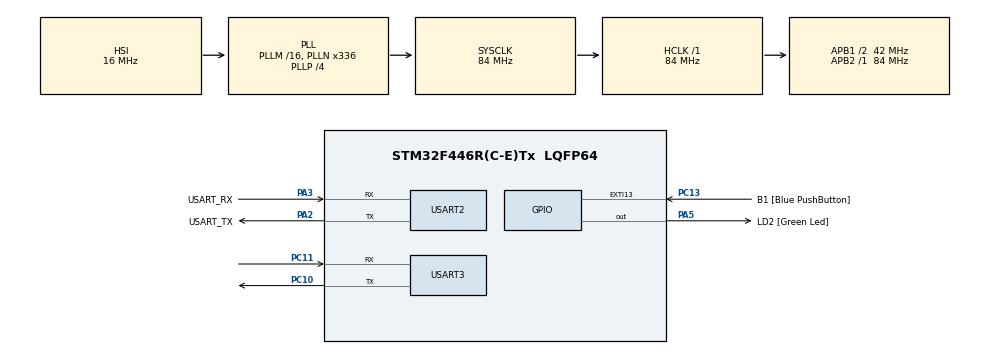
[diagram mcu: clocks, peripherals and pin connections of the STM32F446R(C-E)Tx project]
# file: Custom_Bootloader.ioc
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Mcu.Family=STM32F4
Mcu.Name=STM32F446R(C-E)Tx
Mcu.Package=LQFP64
NVIC.PriorityGroup=NVIC_PRIORITYGROUP_0
PA13.GPIO_Label=TMS
PA13.Signal=SYS_JTMS-SWDIO
PA14.GPIO_Label=TCK
PA14.Signal=SYS_JTCK-SWCLK
PA2.GPIO_Label=USART_TX
PA2.Mode=Asynchronous
PA2.Signal=USART2_TX
PA3.GPIO_Label=USART_RX
PA3.Mode=Asynchronous
PA3.Signal=USART2_RX
PA5.GPIO_Label=LD2 [Green Led]
PA5.Signal=GPIO_Output
PB3.GPIO_Label=SWO
PB3.Signal=SYS_JTDO-SWO
PC10.Mode=Asynchronous
PC10.Signal=USART3_TX
PC11.Mode=Asynchronous
PC11.Signal=USART3_RX
PC13.GPIO_Label=B1 [Blue PushButton]
PC13.GPIO_ModeDefaultEXTI=GPIO_MODE_IT_FALLING
PC13.Signal=GPXTI13
PC14-OSC32_IN.Signal=RCC_OSC32_IN
PC15-OSC32_OUT.Signal=RCC_OSC32_OUT
PH0-OSC_IN.Signal=RCC_OSC_IN
PH1-OSC_OUT.Signal=RCC_OSC_OUT
ProjectManager.HeapSize=0x200
ProjectManager.StackSize=0x400
ProjectManager.TargetToolchain=STM32CubeIDE
RCC.AHBFreq_Value=84000000
RCC.APB1CLKDivider=RCC_HCLK_DIV2
RCC.APB1Freq_Value=42000000
RCC.APB1TimFreq_Value=84000000
RCC.APB2Freq_Value=84000000
RCC.APB2TimFreq_Value=84000000
RCC.CortexFreq_Value=84000000
RCC.FLatency-AdvancedSettings=FLASH_LATENCY_2
RCC.HCLKFreq_Value=84000000
RCC.HSE_VALUE=8000000
RCC.HSI_VALUE=16000000
RCC.LSE_VALUE=32768
RCC.PLLN=336
RCC.PLLP=RCC_PLLP_DIV4
RCC.SYSCLKFreq_VALUE=84000000
RCC.SYSCLKSource=RCC_SYSCLKSOURCE_PLLCLK
RCC.USBFreq_Value=168000000
RCC.VCOOutputFreq_Value=336000000
USART2.VirtualMode=VM_ASYNC
USART3.VirtualMode=VM_ASYNC
VP_CRC_VS_CRC.Mode=CRC_Activate
board=NUCLEO-F446RE

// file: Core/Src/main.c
/* USER CODE BEGIN Header */
/**
  ******************************************************************************
  * @file           : main.c
  * @brief          : Main program body
  ******************************************************************************
  * @attention
  *
  * Copyright (c) 2026 STMicroelectronics.
  * All rights reserved.
  *
  * This software is licensed under terms that can be found in the LICENSE file
  * in the root directory of this software component.
  * If no LICENSE file comes with this software, it is provided AS-IS.
  *
  ******************************************************************************
  */
/* USER CODE END Header */
#include "main.h"

/* USER CODE BEGIN PD */
#define BL_DEBUG_MSG_EN

#define D_UART    &huart3
#define C_UART    &huart2

#define FLASH_SECTOR2_BASE_ADDR    0x08008000U
#define BL_RX_LEN                  200
/* USER CODE END PD */

/* USER CODE BEGIN PM */
#define ADDR_VALID		1
#define ADDR_INVALID	0

#define INVALID_SECTOR	0
/* USER CODE END PM */

CRC_HandleTypeDef hcrc;

UART_HandleTypeDef huart2;
UART_HandleTypeDef huart3;

/* USER CODE BEGIN PV */
uint8_t bl_rx_buffer[BL_RX_LEN];

uint8_t supported_commands[]={
		BL_GET_VER,
		BL_GET_HELP,
		BL_GET_CID,
		BL_GET_RDP_STATUS,
		BL_GO_TO_ADDR,
		BL_FLASH_ERASE,
		BL_MEM_WRITE,
		BL_EN_R_W_PROTECT,
		BL_MEM_READ,
		BL_READ_SECTOR_STATUS,
		BL_OTP_READ,
		BL_DIS_R_W_PROTECT
};
/* USER CODE END PV */

void SystemClock_Config(void);
static void MX_GPIO_Init(void);
static void MX_CRC_Init(void);
static void MX_USART2_UART_Init(void);
static void MX_USART3_UART_Init(void);
/* USER CODE BEGIN PFP */
static void printmsg(char *format,...);
void bootloader_jump_to_user_app(void);
void bootloader_uart_read_data(void);

void bootloader_handle_getver_cmd(uint8_t* bl_rx_buffer);
void bootloader_handle_gethelp_cmd(uint8_t* bl_rx_buffer);
void bootloader_handle_getcid_cmd(uint8_t* bl_rx_buffer);
void bootloader_handle_getrdp_cmd(uint8_t* bl_rx_buffer);
void bootloader_handle_go_cmd(uint8_t* bl_rx_buffer);
void bootloader_handle_flash_erase_cmd(uint8_t* bl_rx_buffer);
void bootloader_handle_mem_write_cmd(uint8_t* bl_rx_buffer);
void bootloader_handle_en_rw_protect(uint8_t* bl_rx_buffer);
void bootloader_handle_mem_read(uint8_t* bl_rx_buffer);
void bootloader_handle_read_sector_protection_status(uint8_t* bl_rx_buffer);
void bootloader_handle_read_otp(uint8_t* bl_rx_buffer);
void bootloader_handle_dis_rw_protect(uint8_t* bl_rx_buffer);

void bootloader_send_nack(void);
void bootloader_send_ack(uint8_t command_code, uint8_t follow_len);
uint8_t bootloader_verify_crc(uint8_t* pData, uint32_t len, uint32_t crc_host);
uint8_t get_bootloader_version(void);
void bootloader_uart_write_data(uint8_t* pBuffer, uint32_t len);
uint32_t get_mcu_chip_id(void);
uint8_t get_flash_rdp_level(void);
uint8_t verify_addr(uint32_t go_address);
uint8_t execute_flash_erase(uint8_t sector_number, uint8_t number_of_sector);
/* USER CODE END PFP */

int main(void)
{

  /* MCU Configuration--------------------------------------------------------*/

  /* Reset of all peripherals, Initializes the Flash interface and the Systick. */
  HAL_Init();

  /* Configure the system clock */
  SystemClock_Config();

  /* Initialize all configured peripherals */
  MX_GPIO_Init();
  MX_CRC_Init();
  MX_USART2_UART_Init();
  MX_USART3_UART_Init();
  /* USER CODE BEGIN 2 */
  if(HAL_GPIO_ReadPin(B1_GPIO_Port, B1_Pin)==GPIO_PIN_RESET)
  {
	  printmsg("\nBL_DEBUG_MSG: Button is pressed .. going to BL mode\n\r");

	  //continue in bootloader mode
	  bootloader_uart_read_data();
  }
  else
  {
	  printmsg("BL_DEBUG_MSG: Button is NOT pressed .. executing user function\n\r");
	  bootloader_jump_to_user_app();
  }

  /* USER CODE END 2 */

  /* Infinite loop */
  while (1)
  {

  }
}

void SystemClock_Config(void)
{
  RCC_OscInitTypeDef RCC_OscInitStruct = {0};
  RCC_ClkInitTypeDef RCC_ClkInitStruct = {0};

  /** Configure the main internal regulator output voltage
  */
  __HAL_RCC_PWR_CLK_ENABLE();
  __HAL_PWR_VOLTAGESCALING_CONFIG(PWR_REGULATOR_VOLTAGE_SCALE3);

  /** Initializes the RCC Oscillators according to the specified parameters
  * in the RCC_OscInitTypeDef structure.
  */
  RCC_OscInitStruct.OscillatorType = RCC_OSCILLATORTYPE_HSI;
  RCC_OscInitStruct.HSIState = RCC_HSI_ON;
  RCC_OscInitStruct.HSICalibrationValue = RCC_HSICALIBRATION_DEFAULT;
  RCC_OscInitStruct.PLL.PLLState = RCC_PLL_ON;
  RCC_OscInitStruct.PLL.PLLSource = RCC_PLLSOURCE_HSI;
  RCC_OscInitStruct.PLL.PLLM = 16;
  RCC_OscInitStruct.PLL.PLLN = 336;
  RCC_OscInitStruct.PLL.PLLP = RCC_PLLP_DIV4;
  RCC_OscInitStruct.PLL.PLLQ = 2;
  RCC_OscInitStruct.PLL.PLLR = 2;
  if (HAL_RCC_OscConfig(&RCC_OscInitStruct) != HAL_OK)
  {
    Error_Handler();
  }

  /** Initializes the CPU, AHB and APB buses clocks
  */
  RCC_ClkInitStruct.ClockType = RCC_CLOCKTYPE_HCLK|RCC_CLOCKTYPE_SYSCLK
                              |RCC_CLOCKTYPE_PCLK1|RCC_CLOCKTYPE_PCLK2;
  RCC_ClkInitStruct.SYSCLKSource = RCC_SYSCLKSOURCE_PLLCLK;
  RCC_ClkInitStruct.AHBCLKDivider = RCC_SYSCLK_DIV1;
  RCC_ClkInitStruct.APB1CLKDivider = RCC_HCLK_DIV2;
  RCC_ClkInitStruct.APB2CLKDivider = RCC_HCLK_DIV1;

  if (HAL_RCC_ClockConfig(&RCC_ClkInitStruct, FLASH_LATENCY_2) != HAL_OK)
  {
    Error_Handler();
  }
}

static void MX_CRC_Init(void)
{

  hcrc.Instance = CRC;
  if (HAL_CRC_Init(&hcrc) != HAL_OK)
  {
    Error_Handler();
  }

}

static void MX_USART2_UART_Init(void)
{

  huart2.Instance = USART2;
  huart2.Init.BaudRate = 115200;
  huart2.Init.WordLength = UART_WORDLENGTH_8B;
  huart2.Init.StopBits = UART_STOPBITS_1;
  huart2.Init.Parity = UART_PARITY_NONE;
  huart2.Init.Mode = UART_MODE_TX_RX;
  huart2.Init.HwFlowCtl = UART_HWCONTROL_NONE;
  huart2.Init.OverSampling = UART_OVERSAMPLING_16;
  if (HAL_UART_Init(&huart2) != HAL_OK)
  {
    Error_Handler();
  }

}

static void MX_USART3_UART_Init(void)
{

  huart3.Instance = USART3;
  huart3.Init.BaudRate = 115200;
  huart3.Init.WordLength = UART_WORDLENGTH_8B;
  huart3.Init.StopBits = UART_STOPBITS_1;
  huart3.Init.Parity = UART_PARITY_NONE;
  huart3.Init.Mode = UART_MODE_TX_RX;
  huart3.Init.HwFlowCtl = UART_HWCONTROL_NONE;
  huart3.Init.OverSampling = UART_OVERSAMPLING_16;
  if (HAL_UART_Init(&huart3) != HAL_OK)
  {
    Error_Handler();
  }

}

static void MX_GPIO_Init(void)
{
  GPIO_InitTypeDef GPIO_InitStruct = {0};

  /* GPIO Ports Clock Enable */
  __HAL_RCC_GPIOC_CLK_ENABLE();
  __HAL_RCC_GPIOH_CLK_ENABLE();
  __HAL_RCC_GPIOA_CLK_ENABLE();
  __HAL_RCC_GPIOB_CLK_ENABLE();

  /*Configure GPIO pin Output Level */
  HAL_GPIO_WritePin(LD2_GPIO_Port, LD2_Pin, GPIO_PIN_RESET);

  /*Configure GPIO pin : B1_Pin */
  GPIO_InitStruct.Pin = B1_Pin;
  GPIO_InitStruct.Mode = GPIO_MODE_IT_FALLING;
  GPIO_InitStruct.Pull = GPIO_NOPULL;
  HAL_GPIO_Init(B1_GPIO_Port, &GPIO_InitStruct);

  /*Configure GPIO pin : LD2_Pin */
  GPIO_InitStruct.Pin = LD2_Pin;
  GPIO_InitStruct.Mode = GPIO_MODE_OUTPUT_PP;
  GPIO_InitStruct.Pull = GPIO_NOPULL;
  GPIO_InitStruct.Speed = GPIO_SPEED_FREQ_LOW;
  HAL_GPIO_Init(LD2_GPIO_Port, &GPIO_InitStruct);

  /* USER CODE BEGIN MX_GPIO_Init_2 */
  GPIO_InitStruct.Pin = GPIO_PIN_10; //USART3_TX
  GPIO_InitStruct.Mode = GPIO_MODE_AF_PP;
  GPIO_InitStruct.Pull = GPIO_PULLUP;
  GPIO_InitStruct.Speed = GPIO_SPEED_FREQ_HIGH;
  GPIO_InitStruct.Alternate = 7;
  HAL_GPIO_Init(GPIOB, &GPIO_InitStruct);

  GPIO_InitStruct.Pin = GPIO_PIN_5; //USART3_RX
  GPIO_InitStruct.Mode = GPIO_MODE_AF_PP;
  GPIO_InitStruct.Pull = GPIO_PULLUP;
  GPIO_InitStruct.Speed = GPIO_SPEED_FREQ_HIGH;
  GPIO_InitStruct.Alternate = 7;
  HAL_GPIO_Init(GPIOC, &GPIO_InitStruct);
  /* USER CODE END MX_GPIO_Init_2 */
}

/* USER CODE BEGIN 4 */
static void printmsg(char *format,...)
{
#ifdef BL_DEBUG_MSG_EN

	char str[80];

	/* Extract the argumet list using VA apis*/
	va_list args;
	va_start(args, format);
	vsprintf(str, format, args);
	HAL_UART_Transmit(D_UART, (uint8_t*)str, strlen(str), HAL_MAX_DELAY);
	va_end(args);

#endif
}

void bootloader_uart_read_data(void)
{
	uint8_t rcv_len=0;

	while(1)
	{
		memset(bl_rx_buffer,0,200);
		//here we will read and decode the commands coming from the host
		//first read will consist of only 1 byte from the host, which is going to be the length field
		HAL_UART_Receive(C_UART, bl_rx_buffer, 1, HAL_MAX_DELAY);
		rcv_len=bl_rx_buffer[0];

		//receiving the actual command
		HAL_UART_Receive(C_UART, bl_rx_buffer, rcv_len, HAL_MAX_DELAY);

		switch ( bl_rx_buffer[0] )
		{
		case BL_GET_VER:
		  bootloader_handle_getver_cmd(bl_rx_buffer);
		  break;
		case BL_GET_HELP:
		  bootloader_handle_gethelp_cmd(bl_rx_buffer);
		  break;
		case BL_GET_CID:
		  bootloader_handle_getcid_cmd(bl_rx_buffer);
		  break;
		case BL_GET_RDP_STATUS:
		  bootloader_handle_getrdp_cmd(bl_rx_buffer);
		  break;
		case BL_GO_TO_ADDR:
		  bootloader_handle_go_cmd(bl_rx_buffer);
		  break;
		case BL_FLASH_ERASE:
		  bootloader_handle_flash_erase_cmd(bl_rx_buffer);
		  break;
		case BL_MEM_WRITE:
		  bootloader_handle_mem_write_cmd(bl_rx_buffer);
		  break;
		case BL_EN_R_W_PROTECT:
		  bootloader_handle_en_rw_protect(bl_rx_buffer);
		  break;
		case BL_MEM_READ:
		  bootloader_handle_mem_read(bl_rx_buffer);
		  break;
		case BL_READ_SECTOR_STATUS:
		  bootloader_handle_read_sector_protection_status(bl_rx_buffer);
		  break;
		case BL_OTP_READ:
		  bootloader_handle_read_otp(bl_rx_buffer);
		  break;
		case BL_DIS_R_W_PROTECT:
		  bootloader_handle_dis_rw_protect(bl_rx_buffer);
		  break;
		default:
		  printmsg("BL_DEBUG_MSG: Invalid command code received from host \n");
		  break;
		}
	}
}

void bootloader_jump_to_user_app(void)
{
	//a function pointer to hold the addr of the reset handler of the user app
	void(*app_reset_handler)(void);
	printmsg("BL_DEBUG_MSG: bootloader_jump_to_user_app\n");

	//1. Config the MSP by adding the value from the base addr of the sector 2
	uint32_t msp_value=*(volatile uint32_t*)FLASH_SECTOR2_BASE_ADDR;
	printmsg("BL_DEBUG_MSG: MSP value: %#x\n",msp_value);

	//This function comes from CMSIS
	__set_MSP(msp_value);

	//2. Now the addr of the reset handler of the user application
	// is fetched from the location FLASH_SECTOR2_BASE_ADDR+4
	uint32_t resethandler_addr=*(volatile uint32_t*)(FLASH_SECTOR2_BASE_ADDR+4);

	app_reset_handler=(void*)resethandler_addr;
	printmsg("BL_DEBUG_MSG: App reset handler address: %#x\n",app_reset_handler);

	//3. jump to reset handler of the user application
	app_reset_handler();
}

void bootloader_handle_getver_cmd(uint8_t* bl_rx_buffer)
{
	uint8_t bl_version;

	//1. Verify the checksum
	printmsg("BL_DEBUG_MSG: bootloader_handle_getver_cmd\n");

	//total length of command packet
	//here bl_rx_buffer[0] contains the value of bytes to follow and
	//1 is added to include the rcv_len byte i.e. 1st byte (bl_rx_buffer[0])
	uint32_t command_packet_len=bl_rx_buffer[0]+1;

	//extract the crc32 sent by the host
	//4 is being subtracted here because total len is of 6 bytes and first 2 bytes
	//are len tto follow and command code the rest of the 4 are crc
	uint32_t host_crc=*((uint32_t*)(bl_rx_buffer+command_packet_len-4));

	//this funct returns 0 then crc is good if non zero val returned then crc is bad
	if(!bootloader_verify_crc(&bl_rx_buffer[0],command_packet_len-4,host_crc))
	{
		printmsg("BL_DEBUG_MSG: Checksum successful!!\n");
		bootloader_send_ack(bl_rx_buffer[0],1);
		bl_version=get_bootloader_version();
		printmsg("BL_DEBUG_MSG: BL VERSION %#x\n",bl_version);
		bootloader_uart_write_data(&bl_version,1);
	}
	else
	{
		printmsg("BL_DEBUG_MSG: checksum fail!!\n");
		//checksum is wrong sending nack
		bootloader_send_nack();
	}
}

//bootloader sneds out ALL supported functions
void bootloader_handle_gethelp_cmd(uint8_t* bl_rx_buffer)
{
	//1. Verify the checksum
	printmsg("BL_DEBUG_MSG: bootloader_handle_gethelp_cmd\n");

	//total length of command packet
	//here bl_rx_buffer[0] contains the value of bytes to follow and
	//1 is added to include the rcv_len byte i.e. 1st byte (bl_rx_buffer[0])
	uint32_t command_packet_len=bl_rx_buffer[0]+1;

	//extract the crc32 sent by the host
	//4 is being subtracted here because total len is of 6 bytes and first 2 bytes
	//are len tto follow and command code the rest of the 4 are crc
	uint32_t host_crc=*((uint32_t*)(bl_rx_buffer+command_packet_len-4));

	//this funct returns 0 then crc is good if non zero val returned then crc is bad
	if(!bootloader_verify_crc(&bl_rx_buffer[0],command_packet_len-4,host_crc))
	{
		printmsg("BL_DEBUG_MSG: Checksum successful!!\n");
		bootloader_send_ack(bl_rx_buffer[0],sizeof(supported_commands));
		bootloader_uart_write_data(supported_commands,sizeof(supported_commands));
	}
	else
	{
		printmsg("BL_DEBUG_MSG: checksum fail!!\n");
		//checksum is wrong sending nack
		bootloader_send_nack();
	}
}

void bootloader_handle_getcid_cmd(uint8_t* bl_rx_buffer)
{
	uint32_t chip_id;

	//1. Verify the checksum
	printmsg("BL_DEBUG_MSG: bootloader_handle_getcid_cmd\n");

	//total length of command packet
	//here bl_rx_buffer[0] contains the value of bytes to follow and
	//1 is added to include the rcv_len byte i.e. 1st byte (bl_rx_buffer[0])
	uint32_t command_packet_len=bl_rx_buffer[0]+1;

	//extract the crc32 sent by the host
	//4 is being subtracted here because total len is of 6 bytes and first 2 bytes
	//are len tto follow and command code the rest of the 4 are crc
	uint32_t host_crc=*((uint32_t*)(bl_rx_buffer+command_packet_len-4));

	//this funct returns 0 then crc is good if non zero val returned then crc is bad
	if(!bootloader_verify_crc(&bl_rx_buffer[0],command_packet_len-4,host_crc))
	{
		printmsg("BL_DEBUG_MSG: Checksum successful!!\n");
		bootloader_send_ack(bl_rx_buffer[0],2);
		chip_id=get_mcu_chip_id();
		uint16_t dev_id = (uint16_t)(chip_id & 0xFFF);
		printmsg("BL_DEBUG_MSG: Chip ID is %#x\n",(chip_id&0xFFF));
		uint16_t chip_rev=(chip_id>>16)&0xFFFF;
		printmsg("BL_DEBUG_MSG: Chip REV is %#x\n",chip_rev);
		bootloader_uart_write_data((uint8_t*)&dev_id,2);
	}
	else
	{
		printmsg("BL_DEBUG_MSG: checksum fail!!\n");
		//checksum is wrong sending nack
		bootloader_send_nack();
	}
}

void bootloader_handle_getrdp_cmd(uint8_t* bl_rx_buffer)
{
	uint8_t rdp_level;

	//1. Verify the checksum
	printmsg("BL_DEBUG_MSG: bootloader_handle_getrdp_cmd\n");

	//total length of command packet
	//here bl_rx_buffer[0] contains the value of bytes to follow and
	//1 is added to include the rcv_len byte i.e. 1st byte (bl_rx_buffer[0])
	uint32_t command_packet_len=bl_rx_buffer[0]+1;

	//extract the crc32 sent by the host
	//4 is being subtracted here because total len is of 6 bytes and first 2 bytes
	//are len tto follow and command code the rest of the 4 are crc
	uint32_t host_crc=*((uint32_t*)(bl_rx_buffer+command_packet_len-4));

	//this funct returns 0 then crc is good if non zero val returned then crc is bad
	if(!bootloader_verify_crc(&bl_rx_buffer[0],command_packet_len-4,host_crc))
	{
		printmsg("BL_DEBUG_MSG: Checksum successful!!\n");
		bootloader_send_ack(bl_rx_buffer[0],1);
		rdp_level=get_flash_rdp_level();
		printmsg("BL_DEBUG_MSG: RDP level is %#x\n",rdp_level);
		bootloader_uart_write_data(&rdp_level,1);
	}
	else
	{
		printmsg("BL_DEBUG_MSG: checksum fail!!\n");
		//checksum is wrong sending nack
		bootloader_send_nack();
	}
}

void bootloader_handle_go_cmd(uint8_t* bl_rx_buffer)
{
	uint32_t go_addr;
	uint8_t addr_valid=ADDR_VALID;
	uint8_t addr_invalid=ADDR_INVALID;

	//1. Verify the checksum
	printmsg("BL_DEBUG_MSG: bootloader_handle_go_cmd\n");

	//total length of command packet
	//here bl_rx_buffer[0] contains the value of bytes to follow and
	//1 is added to include the rcv_len byte i.e. 1st byte (bl_rx_buffer[0])
	uint32_t command_packet_len=bl_rx_buffer[0]+1;

	//extract the crc32 sent by the host
	//4 is being subtracted here because total len is of 6 bytes and first 2 bytes
	//are len tto follow and command code the rest of the 4 are crc
	uint32_t host_crc=*((uint32_t*)(bl_rx_buffer+command_packet_len-4));

	//this funct returns 0 then crc is good if non zero val returned then crc is bad
	if(!bootloader_verify_crc(&bl_rx_buffer[0],command_packet_len-4,host_crc))
	{
		printmsg("BL_DEBUG_MSG: Checksum successful!!\n");
		bootloader_send_ack(bl_rx_buffer[0],1);

		//extract the go address
		go_addr=*((uint32_t*)&bl_rx_buffer[1]);
		printmsg("BL_DEBUG_MSG: GO address is %#x\n",go_addr);
		if(verify_addr(go_addr)==ADDR_VALID)
		{
			//tell host addr is fine
			bootloader_uart_write_data(&addr_valid,1);

			/*
		    uint32_t msp_value = *(volatile uint32_t*)go_addr;
		    __set_MSP(msp_value);

		    uint32_t resethandler_addr = *(volatile uint32_t*)(go_addr + 4);
		    void(*lets_jump)(void) = (void*)resethandler_addr;
		    */

		    go_addr+=1; //make T bit =1

		    void (*lets_jump)(void) = (void *)go_addr;

			printmsg("BL_DEBUG_MSG: Jumping to given address..\n");

			//when code jumps to this addr there must be valid executable code there
			//to see any result so the user must ensure that there is valid code present here
			lets_jump();
		}
		else
		{
			printmsg("BL_DEBUG_MSG: INVALID address\n");
			bootloader_uart_write_data(&addr_invalid,1);
		}
	}
	else
	{
		printmsg("BL_DEBUG_MSG: checksum fail!!\n");
		//checksum is wrong sending nack
		bootloader_send_nack();
	}
}

void bootloader_handle_flash_erase_cmd(uint8_t* bl_rx_buffer)
{
	uint8_t erase_status=0x00;
	printmsg("BL_DEBUG_MSG: bootloader_handle_flash_erase_cmd\n");

	//total length of command packet
	//here bl_rx_buffer[0] contains the value of bytes to follow and
	//1 is added to include the rcv_len byte i.e. 1st byte (bl_rx_buffer[0])
	uint32_t command_packet_len=bl_rx_buffer[0]+1;

	//extract the crc32 sent by the host
	//4 is being subtracted here because total len is of 6 bytes and first 2 bytes
	//are len tto follow and command code the rest of the 4 are crc
	uint32_t host_crc=*((uint32_t*)(bl_rx_buffer+command_packet_len-4));

	//this funct returns 0 then crc is good if non zero val returned then crc is bad
	if(!bootloader_verify_crc(&bl_rx_buffer[0],command_packet_len-4,host_crc))
	{
		printmsg("BL_DEBUG_MSG: Checksum successful!!\n");
		bootloader_send_ack(bl_rx_buffer[0],1);
		printmsg("BL_DEBUG_MSG: initial_sector: %d no_ofsectors: %d\n",bl_rx_buffer[1],bl_rx_buffer[2]);

		HAL_GPIO_WritePin(LD2_GPIO_Port, LD2_Pin, 1);
		erase_status=execute_flash_erase(bl_rx_buffer[1],bl_rx_buffer[2]);
		HAL_GPIO_WritePin(LD2_GPIO_Port, LD2_Pin, 0);

		printmsg("BL_DEBUG_MSG: Flash erase status: %#x\n",erase_status);

		bootloader_uart_write_data(&erase_status, 1);
	}
	else
	{
		printmsg("BL_DEBUG_MSG: checksum fail!!\n");
		//checksum is wrong sending nack
		bootloader_send_nack();
	}

}

void bootloader_handle_mem_write_cmd(uint8_t* bl_rx_buffer)
{

}

void bootloader_handle_en_rw_protect(uint8_t* bl_rx_buffer)
{

}

void bootloader_handle_mem_read(uint8_t* bl_rx_buffer)
{

}

void bootloader_handle_read_sector_protection_status(uint8_t* bl_rx_buffer)
{

}

void bootloader_handle_read_otp(uint8_t* bl_rx_buffer)
{

}

void bootloader_handle_dis_rw_protect(uint8_t* bl_rx_buffer)
{

}

/* Helper functions */
uint8_t bootloader_verify_crc(uint8_t* pData, uint32_t len, uint32_t crc_host)
{
	uint32_t uwCRCValue=0xff;

	for(uint32_t i=0; i<len;i++)
	{
		uint32_t i_data=pData[i];
		uwCRCValue=HAL_CRC_Accumulate(&hcrc, &i_data, 1);
	}

	if(uwCRCValue==crc_host)
	{
		return VERIFY_CRC_SUCCESS;
	}
	return VERIFY_CRC_FAIL;
}

void bootloader_send_ack(uint8_t command_code, uint8_t follow_len)
{
	//here we send 2 byte
	//1st byte is ack and 2nd byte is len value
	uint8_t ack_buf[2];
	ack_buf[0]=BL_ACK;
	ack_buf[1]=follow_len;
	HAL_UART_Transmit(C_UART, ack_buf, 2, HAL_MAX_DELAY);
}

void bootloader_send_nack(void)
{
	uint8_t nack=BL_NACK;
	HAL_UART_Transmit(C_UART, &nack, 1, HAL_MAX_DELAY);
}

uint8_t get_bootloader_version(void)
{
	return (uint8_t)BL_VERSION;
}

void bootloader_uart_write_data(uint8_t* pBuffer, uint32_t len)
{
	HAL_UART_Transmit(C_UART, pBuffer, len, HAL_MAX_DELAY);
}

uint32_t get_mcu_chip_id(void)
{
	/*The STM32F446xx MCUs integrate an MCU ID code. This ID identifies the ST MCU part-
	number and the die revision. It is part of the DBG_MCU component and is mapped on the
	external PPB bus (see Section 33.16 on page 1292 ref manual).*/
	uint32_t cid;
	cid=(uint32_t)(DBGMCU->IDCODE);
	return cid;
}

uint8_t get_flash_rdp_level(void)
{
	uint8_t rdp_status=0;
	volatile uint32_t* pOB_addr=(uint32_t*)0x1FFFC000;
	rdp_status=(uint8_t)(*pOB_addr>>8);

	return rdp_status;
}

uint8_t verify_addr(uint32_t go_address)
{
	//system mem ===> valid address
	//sram1 mem ===> valid address
	//sram2 mem ===> valid address
	//sram mem ===> valid address
	//peripheral mem ===> valid address but do NOT allow
	//external mem ===> valid address

	if(go_address >= SRAM1_BASE && go_address <= (SRAM1_BASE+112*1024))
	{
		return ADDR_VALID;
	}
	else if(go_address >= SRAM2_BASE && go_address <= (SRAM1_BASE+16*1024))
	{
		return ADDR_VALID;
	}
	else if(go_address >= FLASH_BASE && go_address <= FLASH_END)
	{
		return ADDR_VALID;
	}
	else if(go_address >= BKPSRAM_BASE && go_address <= (BKPSRAM_BASE+4*1024))
	{
		return ADDR_VALID;
	}
	else
		return ADDR_INVALID;
}

uint8_t execute_flash_erase(uint8_t sector_number, uint8_t number_of_sector)
{
	//total 8 sectors on nucleo f446re (0 to 7)
	//if sector_number=0xff, then mass erase is initiated
	FLASH_EraseInitTypeDef flashErase_handle;
	uint32_t sectorError;
	HAL_StatusTypeDef status;

	if(number_of_sector>8)
		return INVALID_SECTOR;

	if((sector_number == 0xff) || (sector_number<=7))
	{
		if(sector_number == (uint8_t) 0xff)
		{
			flashErase_handle.TypeErase=FLASH_TYPEERASE_MASSERASE;
		}else{
			uint8_t remaining_sector=8-sector_number;
			if(number_of_sector>remaining_sector)
			{
				number_of_sector=remaining_sector;
			}
			flashErase_handle.TypeErase=FLASH_TYPEERASE_SECTORS;
			flashErase_handle.Sector=sector_number;
			flashErase_handle.NbSectors=number_of_sector;
		}
		flashErase_handle.Banks=FLASH_BANK_1;

		HAL_FLASH_Unlock();
		flashErase_handle.VoltageRange=FLASH_VOLTAGE_RANGE_3;
		status=(uint8_t)HAL_FLASHEx_Erase(&flashErase_handle, &sectorError);
		HAL_FLASH_Lock();

		return status;
	}else{
		return INVALID_SECTOR;
	}
}
/* USER CODE END 4 */

void Error_Handler(void)
{
  __disable_irq();
  while (1)
  {
  }
}
